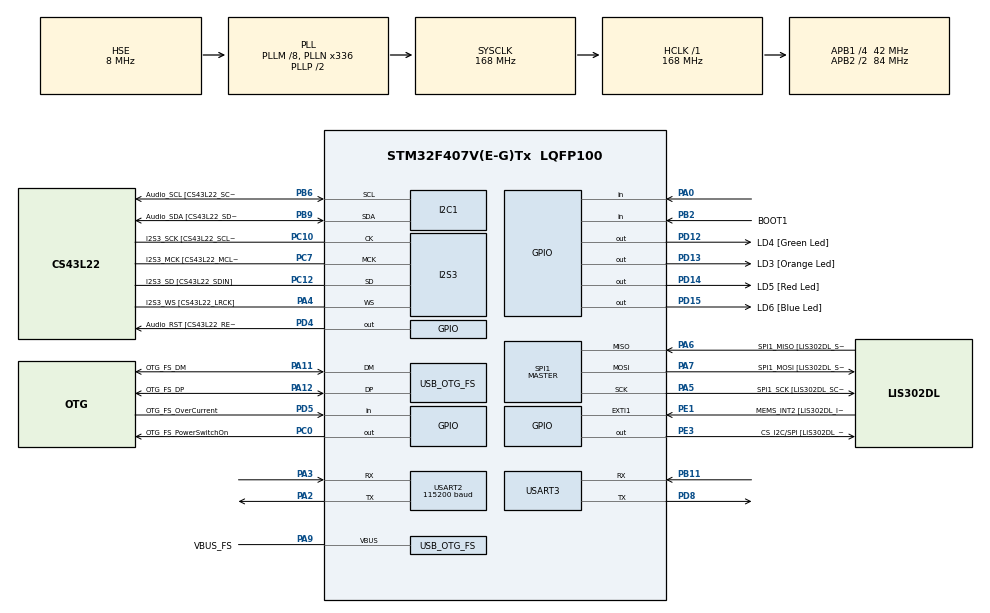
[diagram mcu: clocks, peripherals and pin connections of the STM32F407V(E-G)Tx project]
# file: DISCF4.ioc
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I2S3.AudioFreq-Half_Duplex_Master=I2S_AUDIOFREQ_96K
I2S3.ErrorAudioFreq=-2.34 %
I2S3.ErrorAudioFreq-Half_Duplex_Master=0.8 %
I2S3.FullDuplexMode=I2S_FULLDUPLEXMODE_DISABLE
I2S3.Instance=SPI$Index
I2S3.RealAudioFreq=93.75 KHz
I2S3.RealAudioFreq-Half_Duplex_Master=96.774 KHz
I2S3.VirtualMode=I2S_MODE_MASTER
Mcu.Family=STM32F4
Mcu.Name=STM32F407V(E-G)Tx
Mcu.Package=LQFP100
NVIC.OTG_FS_IRQn=true\:0\:0\:false\:false\:true\:true\:true\:true
NVIC.PriorityGroup=NVIC_PRIORITYGROUP_0
PA0-WKUP.Signal=GPIO_Input
PA10.GPIO_Label=OTG_FS_ID
PA10.GPIO_Mode=GPIO_MODE_AF_PP
PA10.GPIO_PuPd=GPIO_NOPULL
PA10.GPIO_Speed=GPIO_SPEED_FREQ_LOW
PA10.Signal=USB_OTG_FS_ID
PA11.GPIO_Label=OTG_FS_DM
PA11.GPIO_Mode=GPIO_MODE_AF_PP
PA11.GPIO_PuPd=GPIO_NOPULL
PA11.GPIO_Speed=GPIO_SPEED_FREQ_LOW
PA11.Mode=Host_Only
PA11.Signal=USB_OTG_FS_DM
PA12.GPIO_Label=OTG_FS_DP
PA12.GPIO_Mode=GPIO_MODE_AF_PP
PA12.GPIO_PuPd=GPIO_NOPULL
PA12.GPIO_Speed=GPIO_SPEED_FREQ_LOW
PA12.Mode=Host_Only
PA12.Signal=USB_OTG_FS_DP
PA13.GPIO_Label=SWDIO
PA13.Mode=Serial_Wire
PA13.Signal=SYS_JTMS-SWDIO
PA14.GPIO_Label=SWCLK
PA14.Mode=Serial_Wire
PA14.Signal=SYS_JTCK-SWCLK
PA2.Mode=Asynchronous
PA2.Signal=USART2_TX
PA3.Mode=Asynchronous
PA3.Signal=USART2_RX
PA4.GPIO_Label=I2S3_WS [CS43L22_LRCK]
PA4.GPIO_Mode=GPIO_MODE_AF_PP
PA4.GPIO_PuPd=GPIO_NOPULL
PA4.GPIO_Speed=GPIO_SPEED_FREQ_LOW
PA4.Mode=Half_Duplex_Master
PA4.Signal=I2S3_WS
PA5.GPIO_Label=SPI1_SCK [LIS302DL_SCL/SPC]
PA5.GPIO_Mode=GPIO_MODE_AF_PP
PA5.GPIO_PuPd=GPIO_NOPULL
PA5.GPIO_Speed=GPIO_SPEED_FREQ_LOW
PA5.Mode=Full_Duplex_Master
PA5.Signal=SPI1_SCK
PA6.GPIO_Label=SPI1_MISO [LIS302DL_SDO]
PA6.GPIO_Mode=GPIO_MODE_AF_PP
PA6.GPIO_PuPd=GPIO_NOPULL
PA6.GPIO_Speed=GPIO_SPEED_FREQ_LOW
PA6.Mode=Full_Duplex_Master
PA6.Signal=SPI1_MISO
PA7.GPIO_Label=SPI1_MOSI [LIS302DL_SDA/SDI/SDO]
PA7.GPIO_Mode=GPIO_MODE_AF_PP
PA7.GPIO_PuPd=GPIO_NOPULL
PA7.GPIO_Speed=GPIO_SPEED_FREQ_LOW
PA7.Mode=Full_Duplex_Master
PA7.Signal=SPI1_MOSI
PA9.GPIO_Label=VBUS_FS
PA9.GPIO_Mode=GPIO_MODE_INPUT
PA9.GPIO_PuPd=GPIO_NOPULL
PA9.Mode=Activate_VBUS
PA9.Signal=USB_OTG_FS_VBUS
PB10.GPIO_Label=CLK_IN [MP45DT02_CLK]
PB10.GPIO_Mode=GPIO_MODE_AF_PP
PB10.GPIO_PuPd=GPIO_NOPULL
PB10.GPIO_Speed=GPIO_SPEED_FREQ_LOW
PB10.Signal=I2S2_CK
PB11.Mode=Asynchronous
PB11.Signal=USART3_RX
PB2.GPIO_Label=BOOT1
PB2.GPIO_Mode=GPIO_MODE_INPUT
PB2.GPIO_PuPd=GPIO_NOPULL
PB2.Signal=GPIO_Input
PB3.GPIO_Label=SWO
PB3.Signal=SYS_JTDO-SWO
PB6.GPIO_Label=Audio_SCL [CS43L22_SCL]
PB6.GPIO_Mode=GPIO_MODE_AF_OD
PB6.GPIO_Pu=GPIO_PULLUP
PB6.GPIO_PuPd=GPIO_NOPULL
PB6.GPIO_Speed=GPIO_SPEED_FREQ_LOW
PB6.Mode=I2C
PB6.Signal=I2C1_SCL
PB9.GPIO_Label=Audio_SDA [CS43L22_SDA]
PB9.GPIO_Mode=GPIO_MODE_AF_OD
PB9.GPIO_Pu=GPIO_PULLUP
PB9.GPIO_PuPd=GPIO_NOPULL
PB9.GPIO_Speed=GPIO_SPEED_FREQ_LOW
PB9.Mode=I2C
PB9.Signal=I2C1_SDA
PC0.GPIO_Label=OTG_FS_PowerSwitchOn
PC0.GPIO_PuPd=GPIO_NOPULL
PC0.GPIO_Speed=GPIO_SPEED_FREQ_LOW
PC0.PinState=GPIO_PIN_SET
PC0.Signal=GPIO_Output
PC10.GPIO_Label=I2S3_SCK [CS43L22_SCLK]
PC10.GPIO_Mode=GPIO_MODE_AF_PP
PC10.GPIO_PuPd=GPIO_NOPULL
PC10.GPIO_Speed=GPIO_SPEED_FREQ_LOW
PC10.Mode=Half_Duplex_Master
PC10.Signal=I2S3_CK
PC12.GPIO_Label=I2S3_SD [CS43L22_SDIN]
PC12.GPIO_Mode=GPIO_MODE_AF_PP
PC12.GPIO_PuPd=GPIO_NOPULL
PC12.GPIO_Speed=GPIO_SPEED_FREQ_LOW
PC12.Mode=Half_Duplex_Master
PC12.Signal=I2S3_SD
PC14-OSC32_IN.GPIO_Label=PC14-OSC32_IN
PC14-OSC32_IN.Mode=LSE-External-Oscillator
PC14-OSC32_IN.Signal=RCC_OSC32_IN
PC15-OSC32_OUT.GPIO_Label=PC15-OSC32_OUT
PC15-OSC32_OUT.Mode=LSE-External-Oscillator
PC15-OSC32_OUT.Signal=RCC_OSC32_OUT
PC3.GPIO_Label=PDM_OUT [MP45DT02_DOUT]
PC3.GPIO_Mode=GPIO_MODE_AF_PP
PC3.GPIO_PuPd=GPIO_NOPULL
PC3.GPIO_Speed=GPIO_SPEED_FREQ_LOW
PC3.Signal=I2S2_SD
PC7.GPIO_Label=I2S3_MCK [CS43L22_MCLK]
PC7.GPIO_Mode=GPIO_MODE_AF_PP
PC7.GPIO_PuPd=GPIO_NOPULL
PC7.GPIO_Speed=GPIO_SPEED_FREQ_LOW
PC7.Mode=Master_Clock_Activated
PC7.Signal=I2S3_MCK
PD12.GPIO_Label=LD4 [Green Led]
PD12.GPIO_PuPd=GPIO_NOPULL
PD12.GPIO_Speed=GPIO_SPEED_FREQ_LOW
PD12.Signal=GPIO_Output
PD13.GPIO_Label=LD3 [Orange Led]
PD13.GPIO_PuPd=GPIO_NOPULL
PD13.GPIO_Speed=GPIO_SPEED_FREQ_LOW
PD13.Signal=GPIO_Output
PD14.GPIO_Label=LD5 [Red Led]
PD14.GPIO_PuPd=GPIO_NOPULL
PD14.GPIO_Speed=GPIO_SPEED_FREQ_LOW
PD14.Signal=GPIO_Output
PD15.GPIO_Label=LD6 [Blue Led]
PD15.GPIO_PuPd=GPIO_NOPULL
PD15.GPIO_Speed=GPIO_SPEED_FREQ_LOW
PD15.Signal=GPIO_Output
PD4.GPIO_Label=Audio_RST [CS43L22_RESET]
PD4.GPIO_PuPd=GPIO_NOPULL
PD4.GPIO_Speed=GPIO_SPEED_FREQ_LOW
PD4.Signal=GPIO_Output
PD5.GPIO_Label=OTG_FS_OverCurrent
PD5.GPIO_Mode=GPIO_MODE_INPUT
PD5.GPIO_PuPd=GPIO_NOPULL
PD5.Signal=GPIO_Input
PD8.Mode=Asynchronous
PD8.Signal=USART3_TX
PE1.GPIO_Label=MEMS_INT2 [LIS302DL_INT2]
PE1.GPIO_ModeDefaultEXTI=GPIO_MODE_EVT_RISING
PE1.GPIO_PuPd=GPIO_NOPULL
PE1.Signal=GPXTI1
PE3.GPIO_Label=CS_I2C/SPI [LIS302DL_CS_I2C/SPI]
PE3.GPIO_PuPd=GPIO_NOPULL
PE3.GPIO_Speed=GPIO_SPEED_FREQ_LOW
PE3.Signal=GPIO_Output
PH0-OSC_IN.GPIO_Label=PH0-OSC_IN
PH0-OSC_IN.Mode=HSE-External-Oscillator
PH0-OSC_IN.Signal=RCC_OSC_IN
PH1-OSC_OUT.GPIO_Label=PH1-OSC_OUT
PH1-OSC_OUT.Mode=HSE-External-Oscillator
PH1-OSC_OUT.Signal=RCC_OSC_OUT
ProjectManager.HeapSize=0x200
ProjectManager.StackSize=0x400
ProjectManager.TargetToolchain=STM32CubeIDE
RCC.48MHZClocksFreq_Value=48000000
RCC.AHBFreq_Value=168000000
RCC.APB1CLKDivider=RCC_HCLK_DIV4
RCC.APB1Freq_Value=42000000
RCC.APB1TimFreq_Value=84000000
RCC.APB2CLKDivider=RCC_HCLK_DIV2
RCC.APB2Freq_Value=84000000
RCC.APB2TimFreq_Value=168000000
RCC.CortexFreq_Value=168000000
RCC.HCLKFreq_Value=168000000
RCC.HSE_VALUE=8000000
RCC.HSI_VALUE=16000000
RCC.PLLM=8
RCC.PLLN=336
RCC.PLLQ=7
RCC.SYSCLKFreq_VALUE=168000000
RCC.SYSCLKSource=RCC_SYSCLKSOURCE_PLLCLK
RCC.VCOOutputFreq_Value=336000000
SPI1.BaudRatePrescaler-Full_Duplex_Master=SPI_BAUDRATEPRESCALER_2
SPI1.CalculateBaudRate-Full_Duplex_Master=42.0 MBits/s
SPI1.Direction=SPI_DIRECTION_2LINES
SPI1.Mode=SPI_MODE_MASTER
SPI1.Mode-Full_Duplex_Master=SPI_MODE_MASTER
SPI1.VirtualType=VM_MASTER
USART2.BaudRate=115200
USART2.VirtualMode=VM_ASYNC
USART3.VirtualMode=VM_ASYNC
USB_HOST.BSP.number=1
USB_HOST.USBH_HandleTypeDef-CDC_FS=hUsbHostFS
USB_HOST.VirtualModeFS=Cdc
USB_HOST0.BSP.STBoard=false
USB_HOST0.BSP.api=Unknown
USB_HOST0.BSP.instance=PC0
USB_HOST0.BSP.ip=GPIO
USB_HOST0.BSP.mode=Output
USB_HOST0.BSP.name=Drive_VBUS_FS
USB_HOST0.BSP.solution=PC0
USB_OTG_FS.VirtualMode=Host_Only
USB_OTG_FS.phy_itface=HCD_PHY_EMBEDDED
VP_USB_HOST_VS_USB_HOST_CDC_FS.Mode=CDC_FS
board=STM32F407G-DISC1

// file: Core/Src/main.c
/* USER CODE BEGIN Header */
/**
  ******************************************************************************
  * @file           : main.c
  * @brief          : Main program body
  ******************************************************************************
  * @attention
  *
  * Copyright (c) 2025 STMicroelectronics.
  * All rights reserved.
  *
  * This software is licensed under terms that can be found in the LICENSE file
  * in the root directory of this software component.
  * If no LICENSE file comes with this software, it is provided AS-IS.
  *
  ******************************************************************************
  */
/* USER CODE END Header */
#include "main.h"
#include "usb_host.h"

/* USER CODE BEGIN PD */
#define DELAY 50
/* USER CODE END PD */

I2C_HandleTypeDef hi2c1;

I2S_HandleTypeDef hi2s3;

SPI_HandleTypeDef hspi1;

UART_HandleTypeDef huart2;
UART_HandleTypeDef huart3;

void SystemClock_Config(void);
static void MX_GPIO_Init(void);
static void MX_I2C1_Init(void);
static void MX_I2S3_Init(void);
static void MX_SPI1_Init(void);
static void MX_USART2_UART_Init(void);
static void MX_USART3_UART_Init(void);
void MX_USB_HOST_Process(void);

/* USER CODE BEGIN 0 */
void print_number(int num) {
    char buffer[6];  // Espacio para hasta 5 dígitos más el carácter nulo '\0'
    int index = 0;
    // Extraer los dígitos de num y almacenarlos en buffer en orden inverso
    do {
        buffer[index++] = (num % 10) + '0';  // Extraemos el último dígito y lo convertimos a carácter
        num = num / 10;  // Eliminamos el último dígito dividiendo entre 10
    } while (num > 0);  // Continuamos hasta que el número se reduzca a 0

    // Invertir el orden de los dígitos en buffer para obtener el número correcto
    for (int i = 0, j = index - 1; i < j; i++, j--) {
        char temp = buffer[i];
        buffer[i] = buffer[j];
        buffer[j] = temp;
    }
    buffer[index] = '\0';  // Agregar el carácter nulo para finalizar la cadena

    // Enviar el número por UART
    HAL_UART_Transmit(&huart2, (uint8_t*)buffer, index, HAL_MAX_DELAY);

    // Enviar nueva línea
    HAL_UART_Transmit(&huart2, (uint8_t*)"\r\n", 2, HAL_MAX_DELAY);
}
void simple_uart_test() {
	const char msg[] = "Hello, UART!\r\n";
    HAL_UART_Transmit(&huart2, (uint8_t*)msg, sizeof(msg) - 1, HAL_MAX_DELAY);
    }
/* USER CODE END 0 */

int main(void)
{

  /* MCU Configuration--------------------------------------------------------*/

  /* Reset of all peripherals, Initializes the Flash interface and the Systick. */
  HAL_Init();

  /* Configure the system clock */
  SystemClock_Config();

  /* Initialize all configured peripherals */
  MX_GPIO_Init();
  MX_I2C1_Init();
  MX_I2S3_Init();
  MX_SPI1_Init();
  MX_USB_HOST_Init();
  MX_USART2_UART_Init();
  MX_USART3_UART_Init();
  /* USER CODE BEGIN 2 */
  int contador = 0;
  int button_pressed = 0;
  uint8_t B1[]=" Botón presionado 1 veces \n\r";
  uint8_t B2[]=" Botón presionado 2 veces \n\r";
  uint8_t B3[]=" Botón presionado 3 veces \n\r";
  uint8_t B4[]=" Botón presionado 4 veces \n\r";
  uint8_t B5[]=" Botón presionado 5 veces \n\r";
  uint8_t B6[]=" Botón presionado 6 veces \n\r";
  uint8_t L1[]=" LED1 encendido \n\r";
  uint8_t L2[]=" LED2 encendido \n\r";
  uint8_t L3[]=" LED3 encendido \n\r";
  uint8_t L4[]=" LED4 encendido \n\r";
  uint8_t L2o[]=" LED2 apagado \n\r";
  uint8_t L3o[]=" LED3 apagado \n\r";
  /* USER CODE END 2 */

  /* Infinite loop */
  /* USER CODE BEGIN WHILE */
  while (1)
  {
	  if (HAL_GPIO_ReadPin(GPIOA, GPIO_PIN_0) == GPIO_PIN_RESET) {
          if (!button_pressed) {
              contador++;
              if (contador > 3) {
                  contador = 0;
              }
              button_pressed = 3;
          }
      } else {
          button_pressed = 0;

      }
      if (contador == 0) {
          HAL_GPIO_WritePin(GPIOD, GPIO_PIN_12, GPIO_PIN_SET);  // LED Verde ON
          HAL_GPIO_WritePin(GPIOD, GPIO_PIN_13, GPIO_PIN_RESET);
          HAL_GPIO_WritePin(GPIOD, GPIO_PIN_14, GPIO_PIN_RESET);
          HAL_GPIO_WritePin(GPIOD, GPIO_PIN_15, GPIO_PIN_RESET);
          HAL_Delay(DELAY);
          print_number(contador);
          HAL_UART_Transmit(&huart2, B1, strlen(B1), HAL_MAX_DELAY);
          HAL_UART_Transmit(&huart2, L1, strlen(L1), HAL_MAX_DELAY);
      }
      else if (contador == 1) {
          HAL_GPIO_WritePin(GPIOD, GPIO_PIN_13, GPIO_PIN_SET);  // LED Naranja ON
          HAL_GPIO_WritePin(GPIOD, GPIO_PIN_12, GPIO_PIN_RESET);
          HAL_GPIO_WritePin(GPIOD, GPIO_PIN_14, GPIO_PIN_RESET);
          HAL_GPIO_WritePin(GPIOD, GPIO_PIN_15, GPIO_PIN_RESET);
          HAL_Delay(DELAY);
          print_number(contador);
          HAL_UART_Transmit(&huart2, B2, strlen(B2), HAL_MAX_DELAY);
          HAL_UART_Transmit(&huart2, L2, strlen(L2), HAL_MAX_DELAY);
      }
      else if (contador == 2) {
          HAL_GPIO_WritePin(GPIOD, GPIO_PIN_14, GPIO_PIN_SET);  // LED Rojo ON
          HAL_GPIO_WritePin(GPIOD, GPIO_PIN_12, GPIO_PIN_RESET);
          HAL_GPIO_WritePin(GPIOD, GPIO_PIN_13, GPIO_PIN_RESET);
          HAL_GPIO_WritePin(GPIOD, GPIO_PIN_15, GPIO_PIN_RESET);
          HAL_Delay(DELAY);
          print_number(contador);
          HAL_UART_Transmit(&huart2, B3, strlen(B3), HAL_MAX_DELAY);
          HAL_UART_Transmit(&huart2, L3, strlen(L3), HAL_MAX_DELAY);

      }
      else if (contador == 3) {
          HAL_GPIO_WritePin(GPIOD, GPIO_PIN_14, GPIO_PIN_RESET);  // LED Rojo ON
          HAL_GPIO_WritePin(GPIOD, GPIO_PIN_12, GPIO_PIN_RESET);
          HAL_GPIO_WritePin(GPIOD, GPIO_PIN_13, GPIO_PIN_RESET);
          HAL_GPIO_WritePin(GPIOD, GPIO_PIN_15, GPIO_PIN_SET);
          HAL_Delay(DELAY);
          print_number(contador);
          HAL_UART_Transmit(&huart2, B4, strlen(B4), HAL_MAX_DELAY);
          HAL_UART_Transmit(&huart2, L4, strlen(L4), HAL_MAX_DELAY);

      }

    /* USER CODE END WHILE */
    MX_USB_HOST_Process();

  }
}

void SystemClock_Config(void)
{
  RCC_OscInitTypeDef RCC_OscInitStruct = {0};
  RCC_ClkInitTypeDef RCC_ClkInitStruct = {0};

  /** Configure the main internal regulator output voltage
  */
  __HAL_RCC_PWR_CLK_ENABLE();
  __HAL_PWR_VOLTAGESCALING_CONFIG(PWR_REGULATOR_VOLTAGE_SCALE1);

  /** Initializes the RCC Oscillators according to the specified parameters
  * in the RCC_OscInitTypeDef structure.
  */
  RCC_OscInitStruct.OscillatorType = RCC_OSCILLATORTYPE_HSE;
  RCC_OscInitStruct.HSEState = RCC_HSE_ON;
  RCC_OscInitStruct.PLL.PLLState = RCC_PLL_ON;
  RCC_OscInitStruct.PLL.PLLSource = RCC_PLLSOURCE_HSE;
  RCC_OscInitStruct.PLL.PLLM = 8;
  RCC_OscInitStruct.PLL.PLLN = 336;
  RCC_OscInitStruct.PLL.PLLP = RCC_PLLP_DIV2;
  RCC_OscInitStruct.PLL.PLLQ = 7;
  if (HAL_RCC_OscConfig(&RCC_OscInitStruct) != HAL_OK)
  {
    Error_Handler();
  }

  /** Initializes the CPU, AHB and APB buses clocks
  */
  RCC_ClkInitStruct.ClockType = RCC_CLOCKTYPE_HCLK|RCC_CLOCKTYPE_SYSCLK
                              |RCC_CLOCKTYPE_PCLK1|RCC_CLOCKTYPE_PCLK2;
  RCC_ClkInitStruct.SYSCLKSource = RCC_SYSCLKSOURCE_PLLCLK;
  RCC_ClkInitStruct.AHBCLKDivider = RCC_SYSCLK_DIV1;
  RCC_ClkInitStruct.APB1CLKDivider = RCC_HCLK_DIV4;
  RCC_ClkInitStruct.APB2CLKDivider = RCC_HCLK_DIV2;

  if (HAL_RCC_ClockConfig(&RCC_ClkInitStruct, FLASH_LATENCY_5) != HAL_OK)
  {
    Error_Handler();
  }
}

static void MX_I2C1_Init(void)
{

  hi2c1.Instance = I2C1;
  hi2c1.Init.ClockSpeed = 100000;
  hi2c1.Init.DutyCycle = I2C_DUTYCYCLE_2;
  hi2c1.Init.OwnAddress1 = 0;
  hi2c1.Init.AddressingMode = I2C_ADDRESSINGMODE_7BIT;
  hi2c1.Init.DualAddressMode = I2C_DUALADDRESS_DISABLE;
  hi2c1.Init.OwnAddress2 = 0;
  hi2c1.Init.GeneralCallMode = I2C_GENERALCALL_DISABLE;
  hi2c1.Init.NoStretchMode = I2C_NOSTRETCH_DISABLE;
  if (HAL_I2C_Init(&hi2c1) != HAL_OK)
  {
    Error_Handler();
  }

}

static void MX_I2S3_Init(void)
{

  hi2s3.Instance = SPI3;
  hi2s3.Init.Mode = I2S_MODE_MASTER_TX;
  hi2s3.Init.Standard = I2S_STANDARD_PHILIPS;
  hi2s3.Init.DataFormat = I2S_DATAFORMAT_16B;
  hi2s3.Init.MCLKOutput = I2S_MCLKOUTPUT_ENABLE;
  hi2s3.Init.AudioFreq = I2S_AUDIOFREQ_96K;
  hi2s3.Init.CPOL = I2S_CPOL_LOW;
  hi2s3.Init.ClockSource = I2S_CLOCK_PLL;
  hi2s3.Init.FullDuplexMode = I2S_FULLDUPLEXMODE_DISABLE;
  if (HAL_I2S_Init(&hi2s3) != HAL_OK)
  {
    Error_Handler();
  }

}

static void MX_SPI1_Init(void)
{

  /* SPI1 parameter configuration*/
  hspi1.Instance = SPI1;
  hspi1.Init.Mode = SPI_MODE_MASTER;
  hspi1.Init.Direction = SPI_DIRECTION_2LINES;
  hspi1.Init.DataSize = SPI_DATASIZE_8BIT;
  hspi1.Init.CLKPolarity = SPI_POLARITY_LOW;
  hspi1.Init.CLKPhase = SPI_PHASE_1EDGE;
  hspi1.Init.NSS = SPI_NSS_SOFT;
  hspi1.Init.BaudRatePrescaler = SPI_BAUDRATEPRESCALER_2;
  hspi1.Init.FirstBit = SPI_FIRSTBIT_MSB;
  hspi1.Init.TIMode = SPI_TIMODE_DISABLE;
  hspi1.Init.CRCCalculation = SPI_CRCCALCULATION_DISABLE;
  hspi1.Init.CRCPolynomial = 10;
  if (HAL_SPI_Init(&hspi1) != HAL_OK)
  {
    Error_Handler();
  }

}

static void MX_USART2_UART_Init(void)
{

  huart2.Instance = USART2;
  huart2.Init.BaudRate = 115200;
  huart2.Init.WordLength = UART_WORDLENGTH_8B;
  huart2.Init.StopBits = UART_STOPBITS_1;
  huart2.Init.Parity = UART_PARITY_NONE;
  huart2.Init.Mode = UART_MODE_TX_RX;
  huart2.Init.HwFlowCtl = UART_HWCONTROL_NONE;
  huart2.Init.OverSampling = UART_OVERSAMPLING_16;
  if (HAL_UART_Init(&huart2) != HAL_OK)
  {
    Error_Handler();
  }

}

static void MX_USART3_UART_Init(void)
{

  huart3.Instance = USART3;
  huart3.Init.BaudRate = 115200;
  huart3.Init.WordLength = UART_WORDLENGTH_8B;
  huart3.Init.StopBits = UART_STOPBITS_1;
  huart3.Init.Parity = UART_PARITY_NONE;
  huart3.Init.Mode = UART_MODE_TX_RX;
  huart3.Init.HwFlowCtl = UART_HWCONTROL_NONE;
  huart3.Init.OverSampling = UART_OVERSAMPLING_16;
  if (HAL_UART_Init(&huart3) != HAL_OK)
  {
    Error_Handler();
  }

}

static void MX_GPIO_Init(void)
{
  GPIO_InitTypeDef GPIO_InitStruct = {0};

  /* GPIO Ports Clock Enable */
  __HAL_RCC_GPIOE_CLK_ENABLE();
  __HAL_RCC_GPIOC_CLK_ENABLE();
  __HAL_RCC_GPIOH_CLK_ENABLE();
  __HAL_RCC_GPIOA_CLK_ENABLE();
  __HAL_RCC_GPIOB_CLK_ENABLE();
  __HAL_RCC_GPIOD_CLK_ENABLE();

  /*Configure GPIO pin Output Level */
  HAL_GPIO_WritePin(CS_I2C_SPI_GPIO_Port, CS_I2C_SPI_Pin, GPIO_PIN_RESET);

  /*Configure GPIO pin Output Level */
  HAL_GPIO_WritePin(OTG_FS_PowerSwitchOn_GPIO_Port, OTG_FS_PowerSwitchOn_Pin, GPIO_PIN_SET);

  /*Configure GPIO pin Output Level */
  HAL_GPIO_WritePin(GPIOD, LD4_Pin|LD3_Pin|LD5_Pin|LD6_Pin
                          |Audio_RST_Pin, GPIO_PIN_RESET);

  /*Configure GPIO pin : CS_I2C_SPI_Pin */
  GPIO_InitStruct.Pin = CS_I2C_SPI_Pin;
  GPIO_InitStruct.Mode = GPIO_MODE_OUTPUT_PP;
  GPIO_InitStruct.Pull = GPIO_NOPULL;
  GPIO_InitStruct.Speed = GPIO_SPEED_FREQ_LOW;
  HAL_GPIO_Init(CS_I2C_SPI_GPIO_Port, &GPIO_InitStruct);

  /*Configure GPIO pin : OTG_FS_PowerSwitchOn_Pin */
  GPIO_InitStruct.Pin = OTG_FS_PowerSwitchOn_Pin;
  GPIO_InitStruct.Mode = GPIO_MODE_OUTPUT_PP;
  GPIO_InitStruct.Pull = GPIO_NOPULL;
  GPIO_InitStruct.Speed = GPIO_SPEED_FREQ_LOW;
  HAL_GPIO_Init(OTG_FS_PowerSwitchOn_GPIO_Port, &GPIO_InitStruct);

  /*Configure GPIO pin : PDM_OUT_Pin */
  GPIO_InitStruct.Pin = PDM_OUT_Pin;
  GPIO_InitStruct.Mode = GPIO_MODE_AF_PP;
  GPIO_InitStruct.Pull = GPIO_NOPULL;
  GPIO_InitStruct.Speed = GPIO_SPEED_FREQ_LOW;
  GPIO_InitStruct.Alternate = GPIO_AF5_SPI2;
  HAL_GPIO_Init(PDM_OUT_GPIO_Port, &GPIO_InitStruct);

  /*Configure GPIO pin : PA0 */
  GPIO_InitStruct.Pin = GPIO_PIN_0;
  GPIO_InitStruct.Mode = GPIO_MODE_INPUT;
  GPIO_InitStruct.Pull = GPIO_NOPULL;
  HAL_GPIO_Init(GPIOA, &GPIO_InitStruct);

  /*Configure GPIO pin : BOOT1_Pin */
  GPIO_InitStruct.Pin = BOOT1_Pin;
  GPIO_InitStruct.Mode = GPIO_MODE_INPUT;
  GPIO_InitStruct.Pull = GPIO_NOPULL;
  HAL_GPIO_Init(BOOT1_GPIO_Port, &GPIO_InitStruct);

  /*Configure GPIO pin : CLK_IN_Pin */
  GPIO_InitStruct.Pin = CLK_IN_Pin;
  GPIO_InitStruct.Mode = GPIO_MODE_AF_PP;
  GPIO_InitStruct.Pull = GPIO_NOPULL;
  GPIO_InitStruct.Speed = GPIO_SPEED_FREQ_LOW;
  GPIO_InitStruct.Alternate = GPIO_AF5_SPI2;
  HAL_GPIO_Init(CLK_IN_GPIO_Port, &GPIO_InitStruct);

  /*Configure GPIO pins : LD4_Pin LD3_Pin LD5_Pin LD6_Pin
                           Audio_RST_Pin */
  GPIO_InitStruct.Pin = LD4_Pin|LD3_Pin|LD5_Pin|LD6_Pin
                          |Audio_RST_Pin;
  GPIO_InitStruct.Mode = GPIO_MODE_OUTPUT_PP;
  GPIO_InitStruct.Pull = GPIO_NOPULL;
  GPIO_InitStruct.Speed = GPIO_SPEED_FREQ_LOW;
  HAL_GPIO_Init(GPIOD, &GPIO_InitStruct);

  /*Configure GPIO pin : OTG_FS_OverCurrent_Pin */
  GPIO_InitStruct.Pin = OTG_FS_OverCurrent_Pin;
  GPIO_InitStruct.Mode = GPIO_MODE_INPUT;
  GPIO_InitStruct.Pull = GPIO_NOPULL;
  HAL_GPIO_Init(OTG_FS_OverCurrent_GPIO_Port, &GPIO_InitStruct);

  /*Configure GPIO pin : MEMS_INT2_Pin */
  GPIO_InitStruct.Pin = MEMS_INT2_Pin;
  GPIO_InitStruct.Mode = GPIO_MODE_EVT_RISING;
  GPIO_InitStruct.Pull = GPIO_NOPULL;
  HAL_GPIO_Init(MEMS_INT2_GPIO_Port, &GPIO_InitStruct);

}

void Error_Handler(void)
{
  __disable_irq();
  while (1)
  {
  }
}
